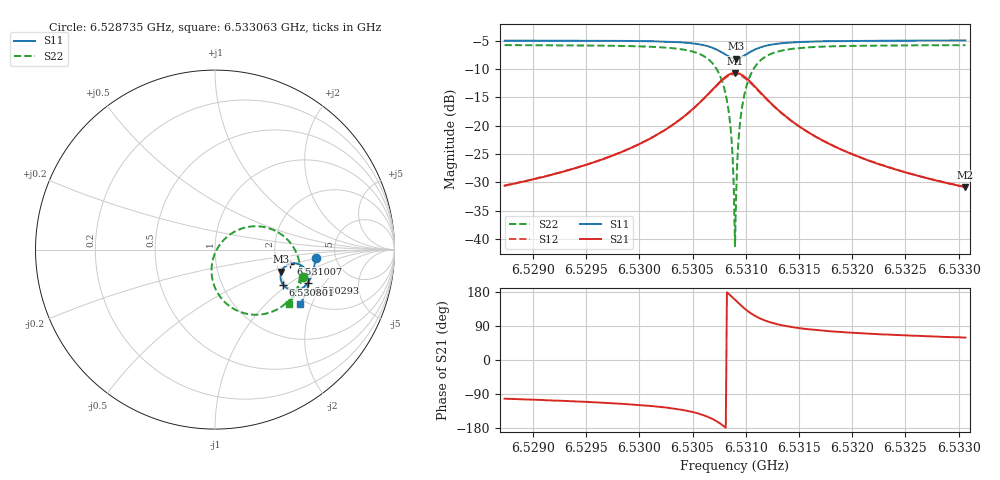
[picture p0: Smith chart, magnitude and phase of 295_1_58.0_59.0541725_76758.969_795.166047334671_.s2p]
#  HZ  S  RI  R  50.00
! Rohde & Schwarz Vector Network Analyzer
! Rohde-Schwarz,ZNB20-2Port,1311601062101988,3.16
! Created: UTC 3/21/2024, 1:03:26 AM
! freq[Hz]  re:S11  im:S11  re:S21  im:S21  re:S12  im:S12  re:S22  im:S22
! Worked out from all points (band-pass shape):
!   401 points, 6.528735 GHz to 6.533063 GHz, reference 50 ohm
!   highest |S21| = -10.69 dB at 6.530899 GHz (marker M1); lowest = -30.8 dB at 6.533063 GHz (marker M2)
!   |S21| within 3 dB of the highest: 6.530683 GHz to 6.531116 GHz (432.4 kHz wide, 0.00662 % of centre)
!   lowest |S11| = -8.2 dB at 6.53091 GHz (marker M3), VSWR 2.28, Z = 103 - j29.8 ohm
!   |S11| at or under -10 dB: nowhere
!   |S22| runs from -41.2 to -5.8 dB; largest |S21 - S12| = 0.011
!   S11 on the Smith chart (normalised r, x): 6.528735 GHz: 3.50, -0.46; 6.530293 GHz: 2.59, -1.39; 6.530801 GHz: 1.93, -0.93; 6.531007 GHz: 2.39, -0.46; 6.533063 GHz: 1.85, -1.65
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6.5287346e9  0.5601 -0.0446  -0.00619 -0.0289  -0.00684 -0.0289  0.4889 -0.1541
6.5294596e9  0.551 -0.1044  -0.0151 -0.0414  -0.016 -0.0411  0.4596 -0.2197
6.5301846e9  0.5242 -0.1751  -0.0471 -0.071  -0.0489 -0.0699  0.382 -0.3102
6.5302928e9  0.5154 -0.1879  -0.0593 -0.0788  -0.0615 -0.0772  0.3559 -0.3278
6.5306391e9  0.4492 -0.2265  -0.161 -0.0952  -0.1631 -0.0885  0.1648 -0.355
6.5307364e9  0.4085 -0.2194  -0.2236 -0.0667  -0.2227 -0.0576  0.0601 -0.2979
6.5308014e9  0.3798 -0.196  -0.2654 -0.0167  -0.2603 -0.00741  -0.00221 -0.207
6.5308447e9  0.3672 -0.1697  -0.2811 0.0336  -0.273 0.0415  -0.0195 -0.121
6.5308663e9  0.365 -0.1542  -0.2818 0.0624  -0.2727 0.0686  -0.016 -0.074
6.5308771e9  0.3649 -0.1462  -0.28 0.0766  -0.2704 0.0823  -0.0105 -0.0504
6.5308879e9  0.3659 -0.138  -0.2768 0.0914  -0.2669 0.0959  -0.00299 -0.0272
6.5308988e9  0.3678 -0.1302  -0.2723 0.1055  -0.2622 0.1091  0.00718 -0.00488
6.5309096e9  0.3704 -0.1225  -0.2662 0.119  -0.2561 0.1219  0.0192 0.0164
6.5309204e9  0.3739 -0.115  -0.2587 0.1321  -0.2489 0.1339  0.0335 0.0364
6.530942e9  0.383 -0.102  -0.241 0.1551  -0.2315 0.1553  0.0667 0.071
6.5309529e9  0.3885 -0.0963  -0.2306 0.1649  -0.2215 0.1645  0.0852 0.0852
6.531007e9  0.4199 -0.0787  -0.1733 0.1961  -0.1669 0.1934  0.1847 0.1263
6.5310827e9  0.4608 -0.0787  -0.1017 0.1985  -0.0981 0.1957  0.3049 0.1174
6.5311909e9  0.4965 -0.1005  -0.0397 0.1696  -0.038 0.1681  0.4053 0.0539
6.5316238e9  0.5214 -0.179  0.0142 0.0822  0.0154 0.0819  0.4749 -0.1301
6.5323488e9  0.502 -0.2512  0.0168 0.0394  0.0175 0.0392  0.4466 -0.2443
6.5330629e9  0.4748 -0.304  0.0147 0.0247  0.0153 0.0246  0.4117 -0.3051
